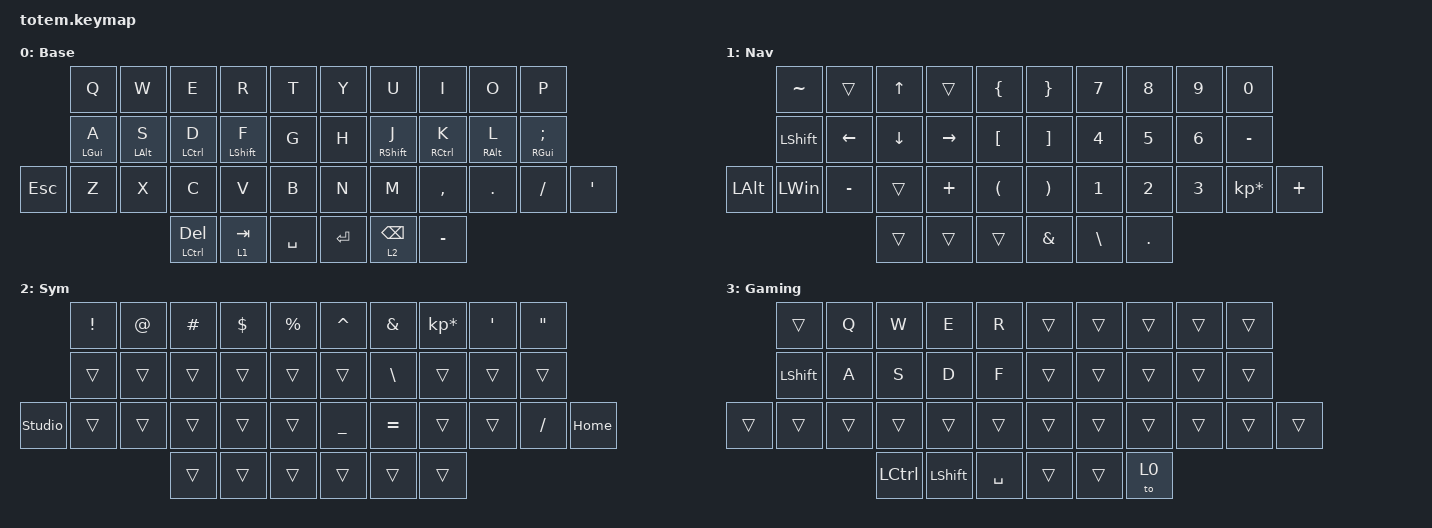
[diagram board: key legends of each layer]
//
//                                                        ▀▀▀▀▀     ▀▀▀▀▀          ▀▀█▀▀
//                                                        ▄▀▀▀▄  ▄  ▄▀▀▀▄  ▄  ▄▀▀▀▄  █  ▄▀▀▀▄
//                                                        █   █  █  █   █  █  █   █  █  █   █
//                                                         ▀▀▀   █   ▀▀▀   █   ▀▀▀   ▀   ▀▀▀
//                                                               █      ▄▄▄█▄▄▄    █   █  
//                                                               ▀      █  █  █     █▄█
//                                                             ▀▀▀▀▀    █  █  █      ▀
//                                                                      ▀  ▀  ▀
//
// ▄▄▄▄▄▄▄▄▄▄▄▄▄▄▄▄▄▄▄▄▄▄▄▄▄▄▄▄▄▄▄▄▄▄▄▄▄▄▄▄▄▄▄▄▄▄▄▄▄▄▄▄▄▄▄▄▄▄▄▄▄▄▄▄▄▄▄▄▄▄▄▄▄▄▄▄▄▄▄▄▄▄▄▄▄▄▄▄▄▄▄▄▄▄▄▄▄▄▄▄▄▄▄▄▄▄▄▄▄▄▄▄▄▄▄▄▄▄▄▄▄▄▄▄▄▄▄▄▄▄▄▄▄▄▄▄▄▄▄▄▄▄▄▄▄▄▄▄▄

#include <behaviors.dtsi>
#include <dt-bindings/zmk/keys.h>

#define Base        0
#define Nav         1
#define Sym         2
#define Gaming      3

&mt {
    quick-tap-ms = <100>;
    global-quick-tap;
    flavor = "tap-preferred";
    tapping-term-ms = <170>;
};

&lt {
    tapping-term-ms = <240>;
    flavor = "balanced";
    quick-tap-ms = <150>;
};

/ {
    behaviors {
        hm: homerow_mods {
            compatible = "zmk,behavior-hold-tap";
            label = "HOMEROW_MODS";
            #binding-cells = <2>;
            flavor = "tap-preferred";
            tapping-term-ms = <200>;
            quick-tap-ms = <125>;
            global-quick-tap;
            bindings = <&kp>, <&kp>;
        };
    };

    combos {
        compatible = "zmk,combos";

        Gaming {
            bindings = <&to 3>;
            key-positions = <32 33>;
            layers = <0>;
        };
    };

    keymap {
        compatible = "zmk,keymap";

        Base {
            display-name = "Base";
            bindings = <
            &kp Q       &kp W       &kp E          &kp R         &kp T        &kp Y    &kp U        &kp I        &kp O       &kp P
            &hm LGUI A  &hm LALT S  &hm LCTRL D    &hm LSHIFT F  &kp G        &kp H    &hm RSHFT J  &hm RCTRL K  &hm RALT L  &hm RGUI SEMICOLON
&kp ESCAPE  &kp Z       &kp X       &kp C          &kp V         &kp B        &kp N    &kp M        &kp COMMA    &kp DOT     &kp SLASH           &kp APOSTROPHE
                                    &mt LCTRL DEL  &lt 1 TAB     &kp SPACE    &kp RET  &lt 2 BSPC   &kp MINUS
            >;
        };

        Nav {
            display-name = "Nav";
            bindings = <
              &kp TILDE       &trans     &kp UP_ARROW  &trans     &kp LBRC    &kp RBRC       &kp NUMBER_7   &kp NUMBER_8  &kp NUMBER_9  &kp NUMBER_0
              &kp LEFT_SHIFT  &kp LEFT   &kp DOWN      &kp RIGHT  &kp LBKT    &kp RBKT       &kp NUMBER_4   &kp NUMBER_5  &kp NUMBER_6  &kp MINUS
&kp LEFT_ALT  &kp LEFT_WIN    &kp MINUS  &trans        &kp PLUS   &kp LPAR    &kp RPAR       &kp NUMBER_1   &kp NUMBER_2  &kp NUMBER_3  &kp KP_MULTIPLY  &kp PLUS
                                         &trans        &trans     &trans      &kp AMPERSAND  &kp BACKSLASH  &kp DOT
            >;
        };

        Sym {
            display-name = "Sym";
            bindings = <
                &kp EXCL  &kp AT  &kp HASH  &kp DOLLAR  &kp PERCENT    &kp CARET  &kp AMPERSAND  &kp KP_ASTERISK  &kp SQT  &kp DQT
                &trans    &trans  &trans    &trans      &trans         &trans     &kp BACKSLASH  &trans           &trans   &trans
&studio_unlock  &trans    &trans  &trans    &trans      &trans         &kp UNDER  &kp EQUAL      &trans           &trans   &kp SLASH  &kp HOME
                                  &trans    &trans      &trans         &trans     &trans         &trans
            >;
        };

        Gaming {
            display-name = "Gaming";
            bindings = <
        &trans          &kp Q   &kp W      &kp E      &kp R        &trans  &trans  &trans  &trans  &trans
        &kp LEFT_SHIFT  &kp A   &kp S      &kp D      &kp F        &trans  &trans  &trans  &trans  &trans
&trans  &trans          &trans  &trans     &trans     &trans       &trans  &trans  &trans  &trans  &trans  &trans
                                &kp LCTRL  &kp LSHFT  &kp SPACE    &trans  &trans  &to 0
            >;
        };
    };
};
